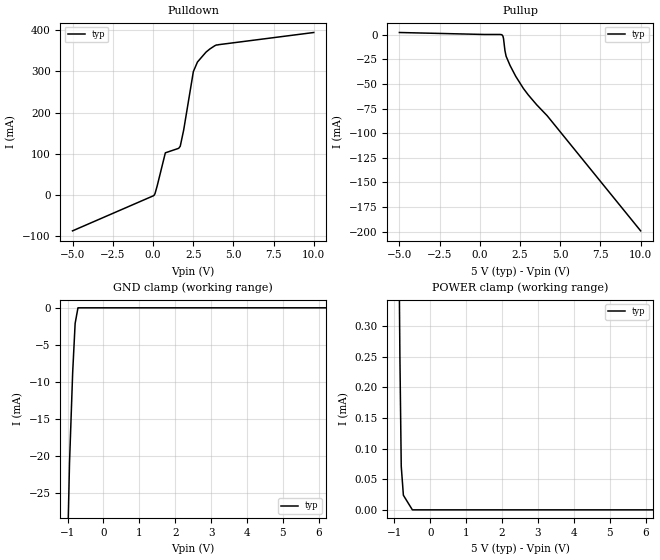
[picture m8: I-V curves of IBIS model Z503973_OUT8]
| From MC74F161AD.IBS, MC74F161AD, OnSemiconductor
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| (C) COPYRIGHT 1993-2000
| MENTOR GRAPHICS CORPORATION
| ICX STANDARD LIBRARY, ICX PROJECT MODELING,
| ICX CUSTOM MODELING, ICX VENDOR MODEL
| ALL RIGHTS RESERVED.
| THE FOLLOWING ARE TRADEMARKS OR SERVICE MARKS OF
| MENTOR GRAPHICS CORPORATION:ICX (R), ICX STANDARD
| LIBRARY(R), ICX PROJECT MODELING(R), ICX CUSTOM
| MODELING(R), qualityIBIS(TM), MODELVIEWER(TM),
| AND MODELEDITOR(TM)
| ALL COPIES OF SOFTWARE, INCLUDING BUT NOT LIMITED TO
| ANY MODIFICATIONS, ENHANCEMENTS OR DERIVATIVE WORKS,
| MUST CONTAIN ALL MENTOR GRAPHICS CORPORATION'S
| NOTICES AND LEGENDS, INCLUDING THOSE EMBEDDED IN
| SOFTWARE AND THOSE AFFIXED TO SOFTWARE MEDIUM
| AND CONTAINER, AS RECEIVED FROM MENTOR GRAPHICS
| CORPORATION.
| Model Application Version 1.89 2/18/99.
[Model] Z503973_OUT8
Model_type Output
Vref=0.000V
Rref=500.0ohms
Cref=50.00pF
Vmeas=1.500V
C_comp 8.000pF NA NA
| variable typ   min   max
[Voltage Range] 5.000V NA NA
[POWER Clamp Reference] 5.000V NA NA
[Pullup Reference] 5.000V NA NA
[Pulldown Reference] 0.000V NA NA
[GND Clamp Reference] 0.000V NA NA
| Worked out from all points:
|   slope of the pulldown table from 0 to 0.75 V, typ, clamps not added: 7.41 ohm
|   slope of the pullup table from 0 to 0.75 V, typ, clamps not added: 6.97 kohm
|   GND clamp passes 1 mA (typ) near -0.75 V on its own axis
|   POWER clamp passes 1 mA (typ) near -0.96 V on its own axis
[GND Clamp]
-5V       -1.58A     NA         NA
-1.191V   -83.94mA   NA         NA
-1.074V   -48.39mA   NA         NA
-947.2mV  -21mA      NA         NA
-859.4mV  -8.767mA   NA         NA
-790.4mV  -2.105mA   NA         NA
-711.4mV  0A         NA         NA
10V       0A         NA         NA
[Pulldown]
-5V       -87.13mA   NA         NA
68.36mV   -826.2uA   NA         NA
263.6mV   21.77mA    NA         NA
772.6mV   102.3mA    NA         NA
1.601V    113.2mA    NA         NA
1.699V    118.3mA    NA         NA
1.913V    157.8mA    NA         NA
2.514V    299.5mA    NA         NA
2.77V     322.7mA    NA         NA
3.301V    346.7mA    NA         NA
3.945V    364mA      NA         NA
10V       394.3mA    NA         NA
[Pullup]
-5V       2.113mA    NA         NA
1.401V    -616.5uA   NA         NA
1.44V     -1.682mA   NA         NA
1.475V    -4.049mA   NA         NA
1.563V    -16.23mA   NA         NA
1.636V    -21.98mA   NA         NA
1.884V    -31.42mA   NA         NA
2.232V    -42.29mA   NA         NA
2.715V    -54.75mA   NA         NA
3.535V    -71.17mA   NA         NA
4.187V    -82.28mA   NA         NA
10V       -199.1mA   NA         NA
[POWER Clamp]
-5V       5.821mA    NA         NA
-1.465V   5.487mA    NA         NA
-1.345V   4.201mA    NA         NA
-1.211V   2.988mA    NA         NA
-1.011V   1.382mA    NA         NA
-850mV    253.8uA    NA         NA
-812mV    71.35uA    NA         NA
-752mV    23.8uA     NA         NA
-501.3mV  0A         NA         NA
10V       0A         NA         NA
[Ramp]
| variable typ min max
dV/dt_r 2.055/4.305n NA NA
dV/dt_f 2.055/1.674n NA NA
R_load = 500.0Ohms
